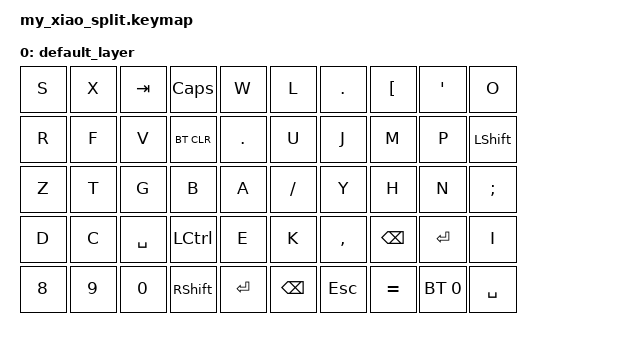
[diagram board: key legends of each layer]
#include <behaviors.dtsi>
#include <dt-bindings/zmk/keys.h>
#include <dt-bindings/zmk/bt.h>

/ {
    keymap {
        compatible = "zmk,keymap";

        default_layer {
            // Swapped ?, minus, and Æ. Changed & to Enter, and one Space to Backspace.
            // Added a temporary &bt BT_CLR on the bottom row to fix your Bluetooth issue!
            bindings = <
                &kp S    &kp X    &kp TAB      &kp CAPS     &kp W          &kp L       &kp DOT      &kp LBKT    &kp SQT         &kp O
                &kp R    &kp F    &kp V        &bt BT_CLR        &kp DOT     &kp U       &kp J        &kp M       &kp P           &kp LSHIFT
                &kp Z    &kp T    &kp G        &kp B        &kp A          &kp SLASH   &kp Y        &kp H       &kp N           &kp SEMI
                &kp D    &kp C    &kp SPACE    &kp LCTRL    &kp E          &kp K       &kp COMMA    &kp BSPC    &kp RET         &kp I
                &kp N8   &kp N9   &kp N0       &kp RSHIFT   &kp RET        &kp BSPC    &kp ESC      &kp EQUAL   &bt BT_SEL 0      &kp SPACE
            >;
        };
    };
};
